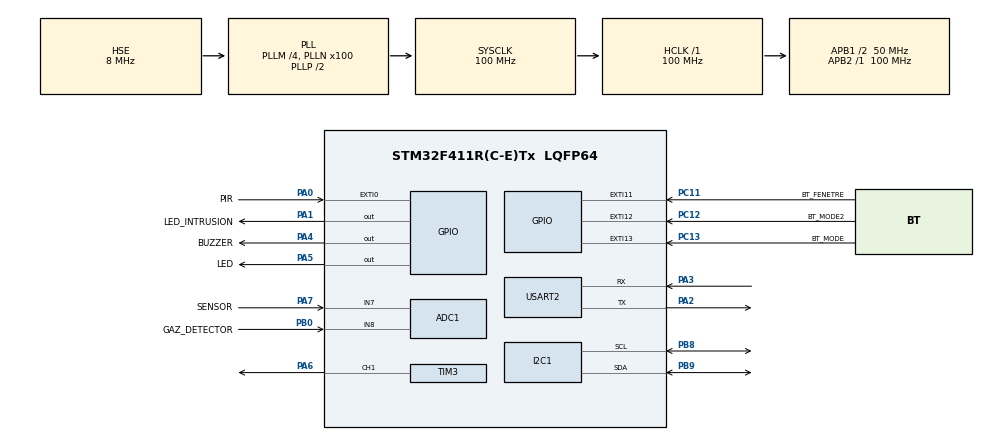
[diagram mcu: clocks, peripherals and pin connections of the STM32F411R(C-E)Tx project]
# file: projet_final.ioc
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ADC1.Channel-0\#ChannelRegularConversion=ADC_CHANNEL_8
ADC1.NbrOfConversionFlag=1
ADC1.Rank-0\#ChannelRegularConversion=1
ADC1.SamplingTime-0\#ChannelRegularConversion=ADC_SAMPLETIME_3CYCLES
ADC1.master=1
I2C1.I2C_Mode=I2C_Standard
Mcu.Family=STM32F4
Mcu.Name=STM32F411R(C-E)Tx
Mcu.Package=LQFP64
NVIC.EXTI0_IRQn=true\:0\:0\:false\:false\:true\:true\:true\:true
NVIC.EXTI15_10_IRQn=true\:0\:0\:false\:false\:true\:true\:true\:true
NVIC.PriorityGroup=NVIC_PRIORITYGROUP_4
NVIC.TIM2_IRQn=true\:0\:0\:false\:false\:true\:true\:true\:true
PA0-WKUP.GPIO_Label=PIR
PA0-WKUP.Signal=GPXTI0
PA1.GPIO_Label=LED_INTRUSION
PA1.Signal=GPIO_Output
PA13.Mode=Serial_Wire
PA13.Signal=SYS_JTMS-SWDIO
PA14.Mode=Serial_Wire
PA14.Signal=SYS_JTCK-SWCLK
PA2.Mode=Asynchronous
PA2.Signal=USART2_TX
PA3.Mode=Asynchronous
PA3.Signal=USART2_RX
PA4.GPIO_Label=BUZZER
PA4.Signal=GPIO_Output
PA5.GPIO_Label=LED
PA5.Signal=GPIO_Output
PA6.Signal=S_TIM3_CH1
PA7.GPIO_Label=SENSOR
PA7.Signal=ADCx_IN7
PB0.GPIO_Label=GAZ_DETECTOR
PB0.Signal=ADCx_IN8
PB8.GPIO_Pu=GPIO_PULLUP
PB8.GPIO_Speed=GPIO_SPEED_FREQ_HIGH
PB8.Mode=I2C
PB8.Signal=I2C1_SCL
PB9.GPIO_Pu=GPIO_PULLUP
PB9.GPIO_Speed=GPIO_SPEED_FREQ_HIGH
PB9.Mode=I2C
PB9.Signal=I2C1_SDA
PC11.GPIO_Label=BT_FENETRE
PC11.Signal=GPXTI11
PC12.GPIO_Label=BT_MODE2
PC12.Signal=GPXTI12
PC13-ANTI_TAMP.GPIO_Label=BT_MODE
PC13-ANTI_TAMP.Signal=GPXTI13
PH0\ -\ OSC_IN.Mode=HSE-External-Oscillator
PH0\ -\ OSC_IN.Signal=RCC_OSC_IN
PH1\ -\ OSC_OUT.Mode=HSE-External-Oscillator
PH1\ -\ OSC_OUT.Signal=RCC_OSC_OUT
ProjectManager.HeapSize=0x200
ProjectManager.StackSize=0x400
ProjectManager.TargetToolchain=STM32CubeIDE
RCC.48MHZClocksFreq_Value=50000000
RCC.AHBFreq_Value=100000000
RCC.APB1CLKDivider=RCC_HCLK_DIV2
RCC.APB1Freq_Value=50000000
RCC.APB1TimFreq_Value=100000000
RCC.APB2Freq_Value=100000000
RCC.APB2TimFreq_Value=100000000
RCC.CortexFreq_Value=100000000
RCC.HCLKFreq_Value=100000000
RCC.HSE_VALUE=8000000
RCC.HSI_VALUE=16000000
RCC.LSE_VALUE=32768
RCC.PLLM=4
RCC.PLLN=100
RCC.PLLSourceVirtual=RCC_PLLSOURCE_HSE
RCC.SYSCLKFreq_VALUE=100000000
RCC.SYSCLKSource=RCC_SYSCLKSOURCE_PLLCLK
RCC.VCOOutputFreq_Value=200000000
SH.ADCx_IN7.0=ADC1_IN7,IN7
SH.ADCx_IN8.0=ADC1_IN8,IN8
SH.S_TIM3_CH1.0=TIM3_CH1,PWM Generation1 CH1
TIM2.Period=19999
TIM2.Prescaler=9999
TIM3.Channel-PWM\ Generation1\ CH1=TIM_CHANNEL_1
TIM3.Period=19999
TIM3.Prescaler=99
USART2.VirtualMode=VM_ASYNC
VP_TIM2_VS_ClockSourceINT.Mode=Internal
VP_TIM3_VS_ClockSourceINT.Mode=Internal
board=custom

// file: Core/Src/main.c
/* USER CODE BEGIN Header */
/**
  ********************************----------------------------------------------
  * @file           : main.c
  * @brief          : Main program body
  ********************************----------------------------------------------
  * @attention
  *
  * Copyright (c) 2026 STMicroelectronics.
  * All rights reserved.
  *
  * This software is licensed under terms that can be found in the LICENSE file
  * in the root directory of this software component.
  * If no LICENSE file comes with this software, it is provided AS-IS.
  *
  ********************************----------------------------------------------
  */
/* USER CODE END Header */
#include "main.h"
#include "adc.h"
#include "i2c.h"
#include "tim.h"
#include "usart.h"
#include "gpio.h"

/* USER CODE BEGIN Includes */
#include "stdio.h"
#include "string.h"
#include "i2c-lcd.h"
#include "tmp102.h"
/* USER CODE END Includes */

/* USER CODE BEGIN PTD */
typedef enum {
    MODE_HOME = 0,
    MODE_AWAY = 1
} SystemMode_t;

typedef enum {
    MODE_OPEN = 0,
    MODE_CLOSED = 1
} Etat_fenetre;
/* USER CODE END PTD */

/* USER CODE BEGIN PD */
#define LED_Pin GPIO_PIN_5
#define LED_Port GPIOA

// PIN Boutons
#define BT_MODE_Pin GPIO_PIN_13
#define BT_MODE_Port GPIOC
#define BT_MODE2_Pin GPIO_PIN_12
#define BT_MODE2_Port GPIOC
#define BT_FENETRE_Pin GPIO_PIN_11
#define BT_FENETRE_Port GPIOC

// PIN Capteurs
#define PIR_Pin GPIO_PIN_0
#define PIR_Port GPIOA
#define GAZ_DETECTOR_Pin GPIO_PIN_0
#define GAZ_DETECTOR_Port GPIOB
#define SENSOR_Pin GPIO_PIN_7
#define SENSOR_Port GPIOA

// PIN Alerte
#define LED_INTRUSION_Pin GPIO_PIN_1
#define LED_INTRUSION_GPIO_Port GPIOA
#define BUZZER_Pin GPIO_PIN_4
#define BUZZER_GPIO_Port GPIOA

// Variable seuil
#define GAS_THRESHOLD 3500
#define GAS_WARNING_THRESHOLD 3200
#define HUMIDITE_THRESHOLD 3500
#define ADC_READ_INTERVAL 100
#define TEMP_READ_INTERVAL 200
#define TEMP_WARNING_HIGH 26.0f
#define TEMP_CRITICAL_THRESHOLD 23.0f
#define TEMP_HOT_THRESHOLD 28.0f
/* USER CODE END PD */

/* USER CODE BEGIN PV */
volatile SystemMode_t currentMode = MODE_HOME;
volatile uint32_t last_interrupt_time = 0;
uint8_t led_r;
volatile Etat_fenetre currentEtat = MODE_CLOSED;
volatile uint32_t last_interrupt_time_2 = 0;

volatile uint8_t alarm_active = 0;
volatile uint8_t gaz_active = 0;
volatile uint8_t fenetre_active = 0;
volatile uint8_t update_lcd_flag = 1;
volatile uint8_t hum_active = 0;

volatile uint8_t timer_acquisition_flag = 0;
volatile uint8_t uart_msg_id = 0;

uint32_t last_led_toggle = 0;
uint32_t last_buzzer_toggle = 0;
uint32_t last_adc_read = 0;
uint32_t last_temp_read = 0;

uint32_t adc_gas_val = 0;
uint32_t adc_humidite_val = 0;

float current_temp = 0.0f;

extern ADC_HandleTypeDef hadc1;
/* USER CODE END PV */

void SystemClock_Config(void);

/* USER CODE BEGIN 0 */

uint32_t Read_ADC(uint32_t channel)
{
    ADC_ChannelConfTypeDef sConfig = {0};
    sConfig.Channel = channel;
    sConfig.Rank = 1;
    sConfig.SamplingTime = ADC_SAMPLETIME_3CYCLES;
    HAL_ADC_ConfigChannel(&hadc1, &sConfig);

    uint32_t val = 0;
    HAL_ADC_Start(&hadc1);
    if (HAL_ADC_PollForConversion(&hadc1, 10) == HAL_OK)
    {
        val = HAL_ADC_GetValue(&hadc1);
    }
    HAL_ADC_Stop(&hadc1);
    return val;
}

void Set_Servo_Angle(uint16_t pulse_width)
{
    __HAL_TIM_SET_COMPARE(&htim3, TIM_CHANNEL_1, pulse_width);
}

void Send_Message_All(char *msg)
{
    HAL_UART_Transmit(&huart2, (uint8_t*)msg, strlen(msg), 100);
    lcd_clear();
    lcd_put_cur(0, 0);
    lcd_send_string(msg);
}
/* USER CODE END 0 */

int main(void)
{

  /* MCU Configuration--------------------------------------------------------*/

  /* Reset of all peripherals, Initializes the Flash interface and the Systick. */
  HAL_Init();

  /* Configure the system clock */
  SystemClock_Config();

  /* Initialize all configured peripherals */
  MX_GPIO_Init();
  MX_TIM2_Init();
  MX_I2C1_Init();
  MX_ADC1_Init();
  MX_USART2_UART_Init();
  MX_TIM3_Init();
  /* USER CODE BEGIN 2 */

  HAL_Delay(100);

  lcd_init();
  lcd_clear();
  HAL_Delay(50);

  lcd_put_cur(0, 0);
  lcd_send_string("Bonjour Lisa");
  HAL_Delay(1000);
  lcd_clear();
  lcd_put_cur(0, 0);
  lcd_send_string("Bienvenue");
  HAL_Delay(1000);

  char welcome_msg[] = " Bienvenue \r\n Mode: HOME , Fenetre fermee \r\n";
  HAL_UART_Transmit(&huart2, (uint8_t*)welcome_msg, strlen(welcome_msg), HAL_MAX_DELAY);

  HAL_TIM_Base_Start_IT(&htim2);
  HAL_TIM_PWM_Start(&htim3, TIM_CHANNEL_1);
  Set_Servo_Angle(750);

  if (TMP102_Init() != HAL_OK)
  {
      char e[] = "TMP102 absent !\r\n";
      HAL_UART_Transmit(&huart2, (uint8_t*)e, strlen(e), 100);
  }

  /* USER CODE END 2 */

  /* Infinite loop */
  while (1)
    {

    /* USER CODE BEGIN 3 */

        //Envoi des messages UART demandés par les interruptions (sans bloquer l'ISR)
        if (uart_msg_id != 0)
        {
            if (uart_msg_id == 1) {
                char msg[] = "Mode : HOME \r\n";
                HAL_UART_Transmit(&huart2, (uint8_t*)msg, strlen(msg), 100);
            } else if (uart_msg_id == 2) {
                char msg[] = "Mode : AWAY \r\n";
                HAL_UART_Transmit(&huart2, (uint8_t*)msg, strlen(msg), 100);
            } else if (uart_msg_id == 3) {
                char msg[] = "[ALERTE] Intrusion detectee!\r\n";
                HAL_UART_Transmit(&huart2, (uint8_t*)msg, strlen(msg), 100);
            } else if (uart_msg_id == 4) {
                char msg[] = "Fenetre ouverte \r\n";
                HAL_UART_Transmit(&huart2, (uint8_t*)msg, strlen(msg), 100);
            } else if (uart_msg_id == 5) {
                char msg[] = "Fenetre fermee \r\n";
                HAL_UART_Transmit(&huart2, (uint8_t*)msg, strlen(msg), 100);
            }
            uart_msg_id = 0;
        }

        //Mise à jour de l'écran LCD
        if (update_lcd_flag == 1)
        {
            update_lcd_flag = 0;
            lcd_clear();
            HAL_Delay(2);

            lcd_put_cur(0, 0);
            char line0[17];
            if (currentMode == MODE_HOME) {
                snprintf(line0, sizeof(line0), "MODE:HOME T:%.1fC", current_temp);
            } else {
                snprintf(line0, sizeof(line0), "MODE:AWAY T:%.1fC", current_temp);
            }
            lcd_send_string(line0);

            // État des alertes ou de la fenêtre
            lcd_put_cur(1, 0);
            char line1[17] = "                ";
            if (alarm_active == 1) {
                snprintf(line1, sizeof(line1), "ALERTE INTRUS.  ");
            }
            else if (gaz_active == 1) {
                snprintf(line1, sizeof(line1), "ALERTE GAZ      ");
            }
            else if (hum_active == 1) {
                snprintf(line1, sizeof(line1), "ALERTE HUMIDITE ");
            }
            else if (currentEtat == MODE_OPEN) {
                snprintf(line1, sizeof(line1), "Fenetre ouverte ");
            }
            else {
                snprintf(line1, sizeof(line1), "Fenetre fermee  ");
            }
            lcd_send_string(line1);
        }

        //Acquisition de TOUS les capteurs cadencée par le Timer matériel (TIM2)
        if (timer_acquisition_flag == 1)
        {
            timer_acquisition_flag = 0;

            //Lecture de l'humidité
            adc_humidite_val = Read_ADC(ADC_CHANNEL_7);
            if (adc_humidite_val > HUMIDITE_THRESHOLD)
            {
                if (hum_active == 0)
                {
                    hum_active = 1;
                    fenetre_active = 0;
                    currentEtat = MODE_CLOSED;
                    update_lcd_flag = 1;

                    char hum_msg[60];
                    sprintf(hum_msg, "[ALERTE] humidite detectee! Valeur: %lu\r\n", adc_humidite_val);
                    HAL_UART_Transmit(&huart2, (uint8_t*)hum_msg, strlen(hum_msg), 100);
                }
            }
            else if (hum_active == 1)
            {
                hum_active = 0;
                update_lcd_flag = 1;
            }

            // Lecture du gaz
            adc_gas_val = Read_ADC(ADC_CHANNEL_8);
            uint8_t previous_gaz_state = gaz_active;
            if (adc_gas_val > GAS_THRESHOLD)
            {
                gaz_active = 1;
                update_lcd_flag = 1;

                if (previous_gaz_state == 0)
                {
                    char gas_msg[50];
                    sprintf(gas_msg, "[ALERTE] Gaz detecte! Valeur: %lu\r\n", adc_gas_val);
                    HAL_UART_Transmit(&huart2, (uint8_t*)gas_msg, strlen(gas_msg), 100);
                }
            }
            else if (adc_gas_val > GAS_WARNING_THRESHOLD && adc_gas_val <= GAS_THRESHOLD)
            {
                char attention_gas_msg[80];
                sprintf(attention_gas_msg, "[ALERTE] Attention Gaz bientot atteint! Valeur: %lu\r\n", adc_gas_val);
                HAL_UART_Transmit(&huart2, (uint8_t*)attention_gas_msg, strlen(attention_gas_msg), 100);
                gaz_active = 0;
            }
            else
            {
                gaz_active = 0;
            }

            //Lecture de la température (TMP102)
            int16_t raw_temp = 0;
            if (TMP102_Measure(&raw_temp) == HAL_OK)
            {
                current_temp = TMP102_RawToCelsius(raw_temp);

                // 1. Gestion automatique de la fenêtre selon la température
                if (current_temp > TEMP_HOT_THRESHOLD) // > 28°C : Il fait trop chaud, on ouvre la fenêtre
                {
                    if (currentMode == MODE_HOME && fenetre_active == 0)
                    {
                        fenetre_active = 1;
                        currentEtat = MODE_OPEN;
                        char hot_msg[] = "[INFO] Il fait trop chaud (> 28C) - Fenetre ouverte\r\n";
                        HAL_UART_Transmit(&huart2, (uint8_t*)hot_msg, strlen(hot_msg), 100);
                    }
                }
                else if (current_temp <= TEMP_CRITICAL_THRESHOLD) // <= 23°C : Il fait trop froid, on ferme la fenêtre
                {
                    if (currentMode == MODE_HOME && fenetre_active == 1)
                    {
                        fenetre_active = 0;
                        currentEtat = MODE_CLOSED;
                        char f_msg[] = "[ALERTE] Temperature critique <= 23C - Fenetre fermee\r\n";
                        HAL_UART_Transmit(&huart2, (uint8_t*)f_msg, strlen(f_msg), 100);
                    }
                }
                else if (current_temp > TEMP_CRITICAL_THRESHOLD && current_temp <= TEMP_WARNING_HIGH) // Entre 23°C et 26°C
                {
                    char temp_warn_msg[60];
                    sprintf(temp_warn_msg, "[ATTENTION] Temperature fraiche (zone d'alerte) : %.1f C\r\n", current_temp);
                    HAL_UART_Transmit(&huart2, (uint8_t*)temp_warn_msg, strlen(temp_warn_msg), 100);
                }
                // Note : Entre 26°C et 28°C, c'est la zone "confort" libre, le bouton manuel garde le contrôle.

                update_lcd_flag = 1;

                // 2. Formatage et envoi de la température mesurée sur l'UART
                char temp_msg[50];
                int32_t mc  = TMP102_RawToMilliC(raw_temp);
                int32_t ent = mc / 1000;
                int32_t dec = (mc < 0 ? -mc : mc) % 1000 / 10;

                sprintf(temp_msg, "Temperature : %s%ld.%02ld C\r\n",
                        (mc < 0 && ent == 0) ? "-" : "", ent, dec);
                HAL_UART_Transmit(&huart2, (uint8_t*)temp_msg, strlen(temp_msg), 100);
            }
            else
            {
                char err_msg[] = "[ERREUR] Lecture TMP102 echouee\r\n";
                HAL_UART_Transmit(&huart2, (uint8_t*)err_msg, strlen(err_msg), 100);
            }
        }

        //Gestion du servomoteur
        if (fenetre_active == 1)
        {
            Set_Servo_Angle(1900);
        }
        else
        {
            Set_Servo_Angle(750);

        }

        //Gestion du clignotement des buzzers et LEDs d'alerte
        if (alarm_active == 1 || gaz_active == 1)
        {
            uint32_t current_tick = HAL_GetTick();

            if (current_tick - last_buzzer_toggle >= 2)
            {
                last_buzzer_toggle = current_tick;
                HAL_GPIO_TogglePin(BUZZER_GPIO_Port, BUZZER_Pin);
            }
            if (current_tick - last_led_toggle >= 250)
            {
                last_led_toggle = current_tick;
                HAL_GPIO_TogglePin(LED_INTRUSION_GPIO_Port, LED_INTRUSION_Pin);
            }
        }
        else
        {
            HAL_GPIO_WritePin(LED_INTRUSION_GPIO_Port, LED_INTRUSION_Pin, GPIO_PIN_RESET);
            HAL_GPIO_WritePin(BUZZER_GPIO_Port, BUZZER_Pin, GPIO_PIN_RESET);
        }
    }
  /* USER CODE END 3 */
}

void SystemClock_Config(void)
{
  RCC_OscInitTypeDef RCC_OscInitStruct = {0};
  RCC_ClkInitTypeDef RCC_ClkInitStruct = {0};

  /** Configure the main internal regulator output voltage
  */
  __HAL_RCC_PWR_CLK_ENABLE();
  __HAL_PWR_VOLTAGESCALING_CONFIG(PWR_REGULATOR_VOLTAGE_SCALE1);

  /** Initializes the RCC Oscillators according to the specified parameters
  * in the RCC_OscInitTypeDef structure.
  */
  RCC_OscInitStruct.OscillatorType = RCC_OSCILLATORTYPE_HSE;
  RCC_OscInitStruct.HSEState = RCC_HSE_ON;
  RCC_OscInitStruct.PLL.PLLState = RCC_PLL_ON;
  RCC_OscInitStruct.PLL.PLLSource = RCC_PLLSOURCE_HSE;
  RCC_OscInitStruct.PLL.PLLM = 4;
  RCC_OscInitStruct.PLL.PLLN = 100;
  RCC_OscInitStruct.PLL.PLLP = RCC_PLLP_DIV2;
  RCC_OscInitStruct.PLL.PLLQ = 4;
  if (HAL_RCC_OscConfig(&RCC_OscInitStruct) != HAL_OK)
  {
    Error_Handler();
  }

  /** Initializes the CPU, AHB and APB buses clocks
  */
  RCC_ClkInitStruct.ClockType = RCC_CLOCKTYPE_HCLK|RCC_CLOCKTYPE_SYSCLK
                              |RCC_CLOCKTYPE_PCLK1|RCC_CLOCKTYPE_PCLK2;
  RCC_ClkInitStruct.SYSCLKSource = RCC_SYSCLKSOURCE_PLLCLK;
  RCC_ClkInitStruct.AHBCLKDivider = RCC_SYSCLK_DIV1;
  RCC_ClkInitStruct.APB1CLKDivider = RCC_HCLK_DIV2;
  RCC_ClkInitStruct.APB2CLKDivider = RCC_HCLK_DIV1;

  if (HAL_RCC_ClockConfig(&RCC_ClkInitStruct, FLASH_LATENCY_3) != HAL_OK)
  {
    Error_Handler();
  }
}

/* USER CODE BEGIN 4 */
void HAL_TIM_PeriodElapsedCallback(TIM_HandleTypeDef *htim)
{
 if (htim->Instance == TIM2)
 {

   HAL_GPIO_TogglePin(GPIOA, GPIO_PIN_5);
   led_r = HAL_GPIO_ReadPin(GPIOA,GPIO_PIN_5);

   timer_acquisition_flag = 1;
 }
}

void HAL_GPIO_EXTI_Callback(uint16_t GPIO_Pin)
{
  // Bouton de changement de mode
  if (GPIO_Pin == BT_MODE_Pin || GPIO_Pin == BT_MODE2_Pin)
  {
    uint32_t current_time = HAL_GetTick();
    if ((current_time - last_interrupt_time) > 200)
    {
      last_interrupt_time = current_time;

      if (currentMode == MODE_HOME)
      {
        currentMode = MODE_AWAY;
        currentEtat = MODE_CLOSED;
        fenetre_active = 0;
        uart_msg_id = 2;
      }
      else
      {
        currentMode = MODE_HOME;
        alarm_active = 0;
        currentEtat = MODE_CLOSED;
        uart_msg_id = 1;
      }
      update_lcd_flag = 1;
    }
  }

  //Capteur PIR
  else if (GPIO_Pin == PIR_Pin)
  {
    if (currentMode == MODE_AWAY)
    {
      alarm_active = 1;
      uart_msg_id = 3;
      update_lcd_flag = 1;
    }
  }
  //Bouton Fenêtre / Servomoteur
  else if (GPIO_Pin == BT_FENETRE_Pin)
  {
    uint32_t current_time_2 = HAL_GetTick();
    if ((current_time_2 - last_interrupt_time_2) > 500)
    {
      last_interrupt_time_2 = current_time_2;

      if (currentMode == MODE_HOME)
      {
          if (currentEtat == MODE_CLOSED)
          {
              currentEtat = MODE_OPEN;
              fenetre_active = 1;
              uart_msg_id = 4;
          }
          else
          {
              currentEtat = MODE_CLOSED;
              fenetre_active = 0;
              uart_msg_id = 5;
          }
          update_lcd_flag = 1;
      }
      else
      {
          currentEtat = MODE_CLOSED;
          fenetre_active = 0;
      }
    }
  }
}
/* USER CODE END 4 */

void Error_Handler(void)
{
  __disable_irq();
  while (1)
  {
  }
}
